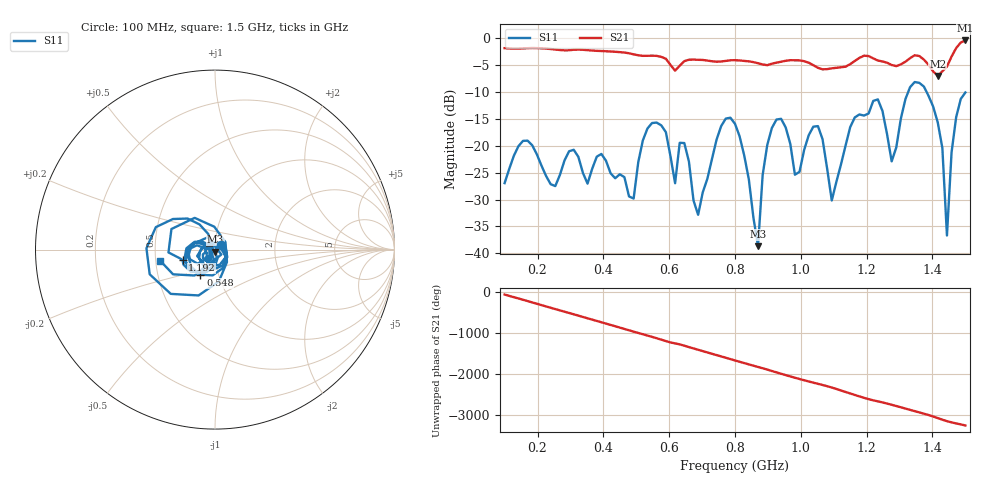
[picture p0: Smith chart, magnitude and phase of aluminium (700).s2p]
! NanoVNA-App
! Date: 2025-09-25 15:00:43
! Start: 100MHz Stop: 1,5GHz Points: 101
! S-Parameter data: F S11 S21 S12 S22
# Hz S RI R 50
!  Frequency  S11_Real  S11_Imag  S21_Real  S21_Imag  S12_Real  S12_Imag  S22_Real  S22_Imag
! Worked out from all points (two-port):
!   101 points, 100 MHz to 1.5 GHz, reference 50 ohm
!   highest |S21| = -0.49 dB at 1.5 GHz (marker M1); lowest = -7.1 dB at 1.416 GHz (marker M2)
!   |S21| within 3 dB of the highest: start of sweep to 572.7 MHz; 1.458 GHz to end of sweep (the widest 2 of 4)
!   lowest |S11| = -38.7 dB at 870 MHz (marker M3), VSWR 1.02, Z = 50.1 - j1.16 ohm
!   |S11| at or under -10 dB: start of sweep to 1.327 GHz; 1.382 GHz to end of sweep
!   S12 and S22 are empty: the file has one direction only
!   S11 on the Smith chart (normalised r, x): 100 MHz: 1.07, +0.06; 548 MHz: 0.82, -0.24; 1.192 GHz: 0.69, -0.08; 1.5 GHz: 0.53, -0.07
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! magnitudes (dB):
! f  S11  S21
! 100 MHz  -27.0  -1.9
! 156 MHz  -19.1  -2.0
! 338 MHz  -25.1  -2.2
! 492 MHz  -29.8  -3.1
! 548 MHz  -15.8  -3.3
! 576 MHz  -16.2  -3.5
! 646 MHz  -19.5  -4.3
! 688 MHz  -32.8  -4.1
! 800 MHz  -16.0  -4.1
! 870 MHz  -38.7  -4.7
! 912 MHz  -16.7  -4.8
! 982 MHz  -25.4  -4.2
! 1.038 GHz  -16.5  -5.1
! 1.094 GHz  -30.2  -5.7
! 1.192 GHz  -14.4  -3.3
! 1.234 GHz  -11.4  -4.2
! 1.276 GHz  -22.9  -5.0
! 1.346 GHz  -8.2  -3.2
! 1.416 GHz  -15.7  -7.1
! 1.444 GHz  -36.7  -5.3
! 1.458 GHz  -21.2  -3.5
! 1.5 GHz  -10.1  -0.5
